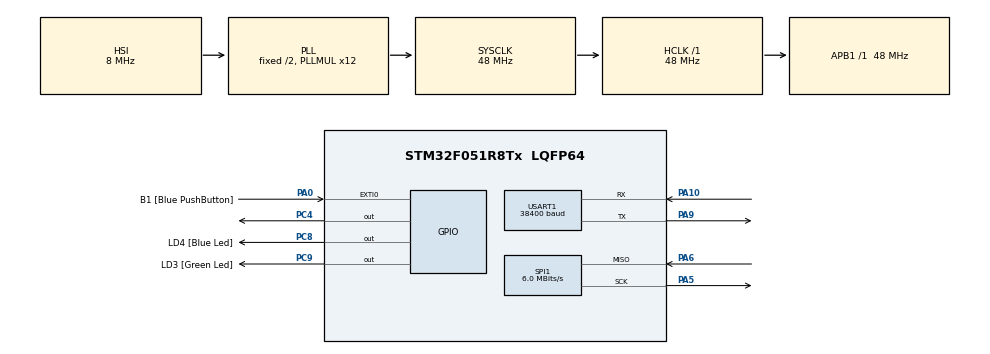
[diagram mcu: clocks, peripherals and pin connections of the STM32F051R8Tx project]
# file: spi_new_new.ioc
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Mcu.Family=STM32F0
Mcu.Name=STM32F051R8Tx
Mcu.Package=LQFP64
PA0.GPIO_Label=B1 [Blue PushButton]
PA0.GPIO_ModeDefaultEXTI=GPIO_MODE_EVT_RISING
PA0.Signal=GPXTI0
PA10.Mode=Asynchronous
PA10.Signal=USART1_RX
PA13.GPIO_Label=SWDIO
PA13.Mode=Serial_Wire
PA13.Signal=SYS_SWDIO
PA14.GPIO_Label=SWCLK
PA14.Mode=Serial_Wire
PA14.Signal=SYS_SWCLK
PA5.Mode=RX_Only_Simplex_Unidirect_Master
PA5.Signal=SPI1_SCK
PA6.Mode=RX_Only_Simplex_Unidirect_Master
PA6.Signal=SPI1_MISO
PA9.Mode=Asynchronous
PA9.Signal=USART1_TX
PC4.Signal=GPIO_Output
PC8.GPIO_Label=LD4 [Blue Led]
PC8.Signal=GPIO_Output
PC9.GPIO_Label=LD3 [Green Led]
PC9.Signal=GPIO_Output
ProjectManager.HeapSize=0x200
ProjectManager.StackSize=0x400
ProjectManager.TargetToolchain=STM32CubeIDE
RCC.AHBFreq_Value=48000000
RCC.APB1Freq_Value=48000000
RCC.APB1TimFreq_Value=48000000
RCC.HCLKFreq_Value=48000000
RCC.PLLMUL=RCC_PLL_MUL12
RCC.SYSCLKFreq_VALUE=48000000
RCC.SYSCLKSource=RCC_SYSCLKSOURCE_PLLCLK
SPI1.BaudRatePrescaler=SPI_BAUDRATEPRESCALER_8
SPI1.CalculateBaudRate=6.0 MBits/s
SPI1.Direction=SPI_DIRECTION_2LINES_RXONLY
SPI1.Mode=SPI_MODE_MASTER
SPI1.VirtualType=VM_MASTER
USART1.BaudRate=38400
USART1.VirtualMode-Asynchronous=VM_ASYNC
board=STM32F0DISCOVERY

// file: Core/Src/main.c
/* USER CODE BEGIN Header */
/**
  ******************************************************************************
  * @file           : main.c
  * @brief          : Main program body
  ******************************************************************************
  * @attention
  *
  * Copyright (c) 2024 STMicroelectronics.
  * All rights reserved.
  *
  * This software is licensed under terms that can be found in the LICENSE file
  * in the root directory of this software component.
  * If no LICENSE file comes with this software, it is provided AS-IS.
  *
  ******************************************************************************
  */
/* USER CODE END Header */
#include "main.h"

/* USER CODE BEGIN PTD */
#include <stdio.h>
#include <string.h>
/* USER CODE END PTD */

SPI_HandleTypeDef hspi1;

UART_HandleTypeDef huart1;

void SystemClock_Config(void);
static void MX_GPIO_Init(void);
static void MX_USART1_UART_Init(void);
static void MX_SPI1_Init(void);

int main(void)
{

  /* USER CODE BEGIN 1 */
	char usartBuf[30];  // Buffer for output
    uint8_t spiOut[4];	// Buffer to receive SPI output from ADC
	HAL_StatusTypeDef ret;

  /* USER CODE END 1 */

  /* MCU Configuration--------------------------------------------------------*/

  /* Reset of all peripherals, Initializes the Flash interface and the Systick. */
  HAL_Init();

  /* Configure the system clock */
  SystemClock_Config();

  /* Initialize all configured peripherals */
  MX_GPIO_Init();
  MX_USART1_UART_Init();
  MX_SPI1_Init();

  /* Infinite loop */
  /* USER CODE BEGIN WHILE */
  while (1)
  {

	  // Set and reset GPIO pin (connected to CNV),
	  // This triggers conversion, should need less than 1ms delay
	  HAL_GPIO_WritePin(GPIOC, GPIO_PIN_4, GPIO_PIN_SET);
	  HAL_Delay(1);
	  HAL_GPIO_WritePin(GPIOC, GPIO_PIN_4, GPIO_PIN_RESET);

	  // We want to receive the data via SPI (connected to SDO),
	  // This goes to MISO pin on the STM board
	  // HAL_SPI_Receive returns a status/error code

	  //spiOut[0] = 0x0000;
	  //spiOut[1] = 0x0000;
	  // Call to SPI_Receive crashes program

	  ret = HAL_SPI_Receive(&hspi1, (uint8_t *)&spiOut[0], sizeof(spiOut), 1000);
	  //HAL_StatusTypeDef ret = HAL_OK;

	  if (ret != HAL_OK){
		  sprintf(usartBuf, "HAL_SPI_Receive Error\n\r");
	  } else {
		  sprintf(usartBuf, "spiOut: %01X%01X%01X%01X\n\r", spiOut[0], spiOut[1], spiOut[2], spiOut[3]);

	  }
	  //sprintf(usartBuf, "test string\n\r");
	  HAL_UART_Transmit(&huart1, (uint8_t*)usartBuf, strlen(usartBuf), HAL_MAX_DELAY);

	  HAL_Delay(500);

    /* USER CODE END WHILE */

  }
}

void SystemClock_Config(void)
{
  RCC_OscInitTypeDef RCC_OscInitStruct = {0};
  RCC_ClkInitTypeDef RCC_ClkInitStruct = {0};
  RCC_PeriphCLKInitTypeDef PeriphClkInit = {0};

  /** Initializes the RCC Oscillators according to the specified parameters
  * in the RCC_OscInitTypeDef structure.
  */
  RCC_OscInitStruct.OscillatorType = RCC_OSCILLATORTYPE_HSI;
  RCC_OscInitStruct.HSIState = RCC_HSI_ON;
  RCC_OscInitStruct.HSICalibrationValue = RCC_HSICALIBRATION_DEFAULT;
  RCC_OscInitStruct.PLL.PLLState = RCC_PLL_ON;
  RCC_OscInitStruct.PLL.PLLSource = RCC_PLLSOURCE_HSI;
  RCC_OscInitStruct.PLL.PLLMUL = RCC_PLL_MUL12;
  RCC_OscInitStruct.PLL.PREDIV = RCC_PREDIV_DIV1;
  if (HAL_RCC_OscConfig(&RCC_OscInitStruct) != HAL_OK)
  {
    Error_Handler();
  }

  /** Initializes the CPU, AHB and APB buses clocks
  */
  RCC_ClkInitStruct.ClockType = RCC_CLOCKTYPE_HCLK|RCC_CLOCKTYPE_SYSCLK
                              |RCC_CLOCKTYPE_PCLK1;
  RCC_ClkInitStruct.SYSCLKSource = RCC_SYSCLKSOURCE_PLLCLK;
  RCC_ClkInitStruct.AHBCLKDivider = RCC_SYSCLK_DIV1;
  RCC_ClkInitStruct.APB1CLKDivider = RCC_HCLK_DIV1;

  if (HAL_RCC_ClockConfig(&RCC_ClkInitStruct, FLASH_LATENCY_1) != HAL_OK)
  {
    Error_Handler();
  }
  PeriphClkInit.PeriphClockSelection = RCC_PERIPHCLK_USART1;
  PeriphClkInit.Usart1ClockSelection = RCC_USART1CLKSOURCE_PCLK1;
  if (HAL_RCCEx_PeriphCLKConfig(&PeriphClkInit) != HAL_OK)
  {
    Error_Handler();
  }
}

static void MX_SPI1_Init(void)
{

  /* SPI1 parameter configuration*/
  hspi1.Instance = SPI1;
  hspi1.Init.Mode = SPI_MODE_MASTER;
  hspi1.Init.Direction = SPI_DIRECTION_2LINES_RXONLY;
  hspi1.Init.DataSize = SPI_DATASIZE_4BIT;
  hspi1.Init.CLKPolarity = SPI_POLARITY_LOW;
  hspi1.Init.CLKPhase = SPI_PHASE_1EDGE;
  hspi1.Init.NSS = SPI_NSS_SOFT;
  hspi1.Init.BaudRatePrescaler = SPI_BAUDRATEPRESCALER_8;
  hspi1.Init.FirstBit = SPI_FIRSTBIT_MSB;
  hspi1.Init.TIMode = SPI_TIMODE_DISABLE;
  hspi1.Init.CRCCalculation = SPI_CRCCALCULATION_DISABLE;
  hspi1.Init.CRCPolynomial = 7;
  hspi1.Init.CRCLength = SPI_CRC_LENGTH_DATASIZE;
  hspi1.Init.NSSPMode = SPI_NSS_PULSE_ENABLE;
  if (HAL_SPI_Init(&hspi1) != HAL_OK)
  {
    Error_Handler();
  }

}

static void MX_USART1_UART_Init(void)
{

  huart1.Instance = USART1;
  huart1.Init.BaudRate = 38400;
  huart1.Init.WordLength = UART_WORDLENGTH_8B;
  huart1.Init.StopBits = UART_STOPBITS_1;
  huart1.Init.Parity = UART_PARITY_NONE;
  huart1.Init.Mode = UART_MODE_TX_RX;
  huart1.Init.HwFlowCtl = UART_HWCONTROL_NONE;
  huart1.Init.OverSampling = UART_OVERSAMPLING_16;
  huart1.Init.OneBitSampling = UART_ONE_BIT_SAMPLE_DISABLE;
  huart1.AdvancedInit.AdvFeatureInit = UART_ADVFEATURE_NO_INIT;
  if (HAL_UART_Init(&huart1) != HAL_OK)
  {
    Error_Handler();
  }

}

static void MX_GPIO_Init(void)
{
  GPIO_InitTypeDef GPIO_InitStruct = {0};

  /* GPIO Ports Clock Enable */
  __HAL_RCC_GPIOA_CLK_ENABLE();
  __HAL_RCC_GPIOC_CLK_ENABLE();

  /*Configure GPIO pin Output Level */
  HAL_GPIO_WritePin(GPIOC, GPIO_PIN_4|LD4_Pin|LD3_Pin, GPIO_PIN_RESET);

  /*Configure GPIO pin : B1_Pin */
  GPIO_InitStruct.Pin = B1_Pin;
  GPIO_InitStruct.Mode = GPIO_MODE_EVT_RISING;
  GPIO_InitStruct.Pull = GPIO_NOPULL;
  HAL_GPIO_Init(B1_GPIO_Port, &GPIO_InitStruct);

  /*Configure GPIO pins : PC4 LD4_Pin LD3_Pin */
  GPIO_InitStruct.Pin = GPIO_PIN_4|LD4_Pin|LD3_Pin;
  GPIO_InitStruct.Mode = GPIO_MODE_OUTPUT_PP;
  GPIO_InitStruct.Pull = GPIO_NOPULL;
  GPIO_InitStruct.Speed = GPIO_SPEED_FREQ_LOW;
  HAL_GPIO_Init(GPIOC, &GPIO_InitStruct);

}

void Error_Handler(void)
{
  __disable_irq();
  while (1)
  {
  }
}
